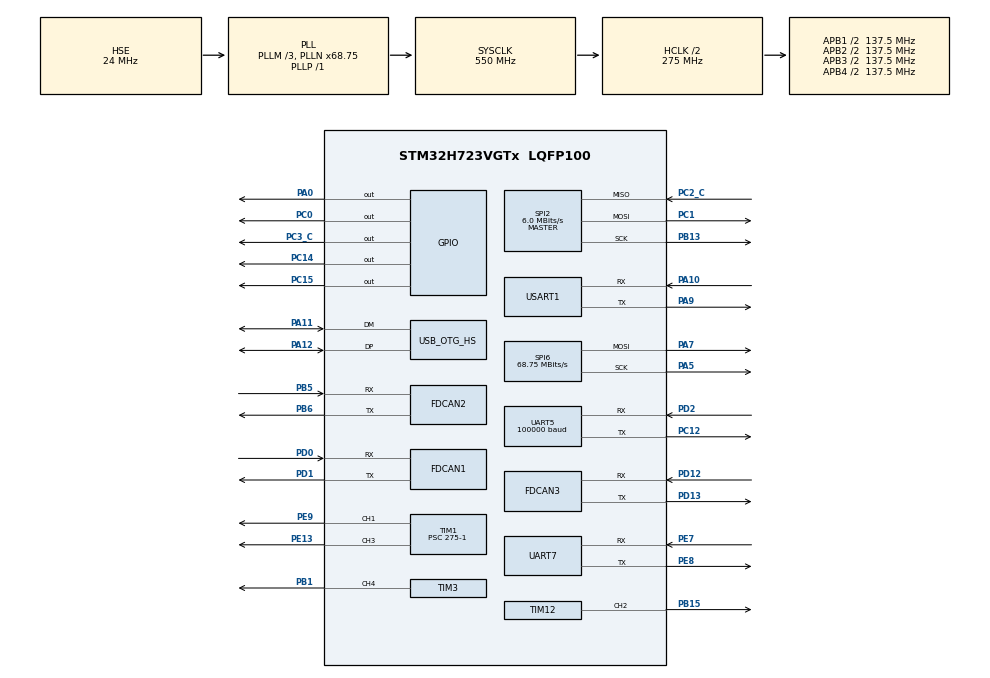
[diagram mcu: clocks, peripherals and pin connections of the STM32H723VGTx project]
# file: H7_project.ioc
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Bdma.Request0=SPI6_TX
Bdma.RequestsNb=1
Bdma.SPI6_TX.0.Direction=DMA_MEMORY_TO_PERIPH
Bdma.SPI6_TX.0.EventEnable=DISABLE
Bdma.SPI6_TX.0.Instance=BDMA_Channel0
Bdma.SPI6_TX.0.MemDataAlignment=DMA_MDATAALIGN_BYTE
Bdma.SPI6_TX.0.MemInc=DMA_MINC_ENABLE
Bdma.SPI6_TX.0.Mode=DMA_NORMAL
Bdma.SPI6_TX.0.PeriphDataAlignment=DMA_PDATAALIGN_BYTE
Bdma.SPI6_TX.0.PeriphInc=DMA_PINC_DISABLE
Bdma.SPI6_TX.0.Polarity=HAL_DMAMUX_REQ_GEN_RISING
Bdma.SPI6_TX.0.Priority=DMA_PRIORITY_VERY_HIGH
Bdma.SPI6_TX.0.RequestNumber=1
Bdma.SPI6_TX.0.SignalID=NONE
Bdma.SPI6_TX.0.SyncEnable=DISABLE
Bdma.SPI6_TX.0.SyncPolarity=HAL_DMAMUX_SYNC_NO_EVENT
Bdma.SPI6_TX.0.SyncRequestNumber=1
Bdma.SPI6_TX.0.SyncSignalID=NONE
CORTEX_M7.default_mode_Activation=1
Dma.Request0=UART5_RX
Dma.Request1=USART1_RX
Dma.Request2=USART1_TX
Dma.Request3=UART7_RX
Dma.Request4=UART7_TX
Dma.UART5_RX.0.Direction=DMA_PERIPH_TO_MEMORY
Dma.UART5_RX.0.EventEnable=DISABLE
Dma.UART5_RX.0.FIFOMode=DMA_FIFOMODE_DISABLE
Dma.UART5_RX.0.Instance=DMA1_Stream0
Dma.UART5_RX.0.MemDataAlignment=DMA_MDATAALIGN_BYTE
Dma.UART5_RX.0.MemInc=DMA_MINC_ENABLE
Dma.UART5_RX.0.Mode=DMA_CIRCULAR
Dma.UART5_RX.0.PeriphDataAlignment=DMA_PDATAALIGN_BYTE
Dma.UART5_RX.0.PeriphInc=DMA_PINC_DISABLE
Dma.UART5_RX.0.Polarity=HAL_DMAMUX_REQ_GEN_RISING
Dma.UART5_RX.0.Priority=DMA_PRIORITY_VERY_HIGH
Dma.UART5_RX.0.RequestNumber=1
Dma.UART5_RX.0.SignalID=NONE
Dma.UART5_RX.0.SyncEnable=DISABLE
Dma.UART5_RX.0.SyncPolarity=HAL_DMAMUX_SYNC_NO_EVENT
Dma.UART5_RX.0.SyncRequestNumber=1
Dma.UART5_RX.0.SyncSignalID=NONE
Dma.UART7_RX.3.Direction=DMA_PERIPH_TO_MEMORY
Dma.UART7_RX.3.EventEnable=DISABLE
Dma.UART7_RX.3.FIFOMode=DMA_FIFOMODE_DISABLE
Dma.UART7_RX.3.Instance=DMA1_Stream1
Dma.UART7_RX.3.MemDataAlignment=DMA_MDATAALIGN_BYTE
Dma.UART7_RX.3.MemInc=DMA_MINC_ENABLE
Dma.UART7_RX.3.Mode=DMA_CIRCULAR
Dma.UART7_RX.3.PeriphDataAlignment=DMA_PDATAALIGN_BYTE
Dma.UART7_RX.3.PeriphInc=DMA_PINC_DISABLE
Dma.UART7_RX.3.Polarity=HAL_DMAMUX_REQ_GEN_RISING
Dma.UART7_RX.3.Priority=DMA_PRIORITY_LOW
Dma.UART7_RX.3.RequestNumber=1
Dma.UART7_RX.3.SignalID=NONE
Dma.UART7_RX.3.SyncEnable=DISABLE
Dma.UART7_RX.3.SyncPolarity=HAL_DMAMUX_SYNC_NO_EVENT
Dma.UART7_RX.3.SyncRequestNumber=1
Dma.UART7_RX.3.SyncSignalID=NONE
Dma.UART7_TX.4.Direction=DMA_MEMORY_TO_PERIPH
Dma.UART7_TX.4.EventEnable=DISABLE
Dma.UART7_TX.4.FIFOMode=DMA_FIFOMODE_DISABLE
Dma.UART7_TX.4.Instance=DMA1_Stream3
Dma.UART7_TX.4.MemDataAlignment=DMA_MDATAALIGN_BYTE
Dma.UART7_TX.4.MemInc=DMA_MINC_ENABLE
Dma.UART7_TX.4.Mode=DMA_NORMAL
Dma.UART7_TX.4.PeriphDataAlignment=DMA_PDATAALIGN_BYTE
Dma.UART7_TX.4.PeriphInc=DMA_PINC_DISABLE
Dma.UART7_TX.4.Polarity=HAL_DMAMUX_REQ_GEN_RISING
Dma.UART7_TX.4.Priority=DMA_PRIORITY_LOW
Dma.UART7_TX.4.RequestNumber=1
Dma.UART7_TX.4.SignalID=NONE
Dma.UART7_TX.4.SyncEnable=DISABLE
Dma.UART7_TX.4.SyncPolarity=HAL_DMAMUX_SYNC_NO_EVENT
Dma.UART7_TX.4.SyncRequestNumber=1
Dma.UART7_TX.4.SyncSignalID=NONE
Dma.USART1_RX.1.Direction=DMA_PERIPH_TO_MEMORY
Dma.USART1_RX.1.EventEnable=DISABLE
Dma.USART1_RX.1.FIFOMode=DMA_FIFOMODE_DISABLE
Dma.USART1_RX.1.Instance=DMA1_Stream2
Dma.USART1_RX.1.MemDataAlignment=DMA_MDATAALIGN_BYTE
Dma.USART1_RX.1.MemInc=DMA_MINC_ENABLE
Dma.USART1_RX.1.Mode=DMA_CIRCULAR
Dma.USART1_RX.1.PeriphDataAlignment=DMA_PDATAALIGN_BYTE
Dma.USART1_RX.1.PeriphInc=DMA_PINC_DISABLE
Dma.USART1_RX.1.Polarity=HAL_DMAMUX_REQ_GEN_RISING
Dma.USART1_RX.1.Priority=DMA_PRIORITY_VERY_HIGH
Dma.USART1_RX.1.RequestNumber=1
Dma.USART1_RX.1.SignalID=NONE
Dma.USART1_RX.1.SyncEnable=DISABLE
Dma.USART1_RX.1.SyncPolarity=HAL_DMAMUX_SYNC_NO_EVENT
Dma.USART1_RX.1.SyncRequestNumber=1
Dma.USART1_RX.1.SyncSignalID=NONE
Dma.USART1_TX.2.Direction=DMA_MEMORY_TO_PERIPH
Dma.USART1_TX.2.EventEnable=DISABLE
Dma.USART1_TX.2.FIFOMode=DMA_FIFOMODE_DISABLE
Dma.USART1_TX.2.Instance=DMA1_Stream4
Dma.USART1_TX.2.MemDataAlignment=DMA_MDATAALIGN_BYTE
Dma.USART1_TX.2.MemInc=DMA_MINC_ENABLE
Dma.USART1_TX.2.Mode=DMA_NORMAL
Dma.USART1_TX.2.PeriphDataAlignment=DMA_PDATAALIGN_BYTE
Dma.USART1_TX.2.PeriphInc=DMA_PINC_DISABLE
Dma.USART1_TX.2.Polarity=HAL_DMAMUX_REQ_GEN_RISING
Dma.USART1_TX.2.Priority=DMA_PRIORITY_HIGH
Dma.USART1_TX.2.RequestNumber=1
Dma.USART1_TX.2.SignalID=NONE
Dma.USART1_TX.2.SyncEnable=DISABLE
Dma.USART1_TX.2.SyncPolarity=HAL_DMAMUX_SYNC_NO_EVENT
Dma.USART1_TX.2.SyncRequestNumber=1
Dma.USART1_TX.2.SyncSignalID=NONE
FDCAN1.CalculateBaudRateNominal=1000000
FDCAN1.CalculateTimeBitNominal=1000
FDCAN1.CalculateTimeQuantumNominal=62.5
FDCAN1.DataPrescaler=3
FDCAN1.DataTimeSeg1=7
FDCAN1.DataTimeSeg2=8
FDCAN1.NominalPrescaler=3
FDCAN1.NominalTimeSeg1=7
FDCAN1.NominalTimeSeg2=8
FDCAN1.RxFifo0ElmtsNbr=8
FDCAN1.StdFiltersNbr=1
FDCAN1.TxFifoQueueElmtsNbr=8
FDCAN2.CalculateBaudRateNominal=1000000
FDCAN2.CalculateTimeBitNominal=1000
FDCAN2.CalculateTimeQuantumNominal=62.5
FDCAN2.DataPrescaler=3
FDCAN2.DataTimeSeg1=7
FDCAN2.DataTimeSeg2=8
FDCAN2.MessageRAMOffset=800
FDCAN2.NominalPrescaler=3
FDCAN2.NominalTimeSeg1=7
FDCAN2.NominalTimeSeg2=8
FDCAN2.RxFifo0ElmtsNbr=8
FDCAN2.StdFiltersNbr=1
FDCAN2.TxFifoQueueElmtsNbr=8
FDCAN3.CalculateBaudRateNominal=1000000
FDCAN3.CalculateTimeBitNominal=1000
FDCAN3.CalculateTimeQuantumNominal=62.5
FDCAN3.DataPrescaler=3
FDCAN3.DataTimeSeg1=7
FDCAN3.DataTimeSeg2=8
FDCAN3.MessageRAMOffset=1600
FDCAN3.NominalPrescaler=3
FDCAN3.NominalTimeSeg1=7
FDCAN3.NominalTimeSeg2=8
FDCAN3.RxFifo1ElmtsNbr=8
FDCAN3.StdFiltersNbr=1
FDCAN3.TxFifoQueueElmtsNbr=8
Mcu.Family=STM32H7
Mcu.Name=STM32H723VGTx
Mcu.Package=LQFP100
NVIC.BDMA_Channel0_IRQn=true\:0\:0\:false\:false\:true\:false\:true\:true
NVIC.DMA1_Stream0_IRQn=true\:0\:0\:false\:false\:true\:false\:true\:true
NVIC.DMA1_Stream1_IRQn=true\:0\:0\:false\:false\:true\:false\:true\:true
NVIC.DMA1_Stream2_IRQn=true\:0\:0\:false\:false\:true\:false\:true\:true
NVIC.DMA1_Stream3_IRQn=true\:0\:0\:false\:false\:true\:false\:true\:true
NVIC.DMA1_Stream4_IRQn=true\:0\:0\:false\:false\:true\:false\:true\:true
NVIC.FDCAN1_IT0_IRQn=true\:1\:0\:true\:false\:true\:true\:true\:true
NVIC.FDCAN2_IT0_IRQn=true\:1\:0\:true\:false\:true\:true\:true\:true
NVIC.FDCAN3_IT1_IRQn=true\:1\:0\:true\:false\:true\:true\:true\:true
NVIC.OTG_HS_IRQn=true\:0\:0\:false\:false\:true\:true\:true\:true
NVIC.PriorityGroup=NVIC_PRIORITYGROUP_4
NVIC.SPI6_IRQn=true\:0\:0\:false\:false\:true\:false\:true\:true
NVIC.TIM1_UP_IRQn=true\:0\:0\:false\:false\:true\:true\:true\:true
NVIC.TIM6_DAC_IRQn=true\:2\:0\:true\:false\:true\:true\:true\:true
NVIC.UART5_IRQn=true\:0\:0\:false\:false\:true\:true\:true\:true
NVIC.UART7_IRQn=true\:0\:0\:false\:false\:true\:true\:true\:true
NVIC.USART1_IRQn=true\:0\:0\:false\:false\:true\:false\:true\:true
PA0.Signal=GPIO_Output
PA10.Mode=Asynchronous
PA10.Signal=USART1_RX
PA11.Mode=Device_Only_FS
PA11.Signal=USB_OTG_HS_DM
PA12.Mode=Device_Only_FS
PA12.Signal=USB_OTG_HS_DP
PA13(JTMS/SWDIO).Mode=Serial_Wire
PA13(JTMS/SWDIO).Signal=DEBUG_JTMS-SWDIO
PA14(JTCK/SWCLK).Mode=Serial_Wire
PA14(JTCK/SWCLK).Signal=DEBUG_JTCK-SWCLK
PA5.Mode=TX_Only_Simplex_Unidirect_Master
PA5.Signal=SPI6_SCK
PA7.Mode=TX_Only_Simplex_Unidirect_Master
PA7.Signal=SPI6_MOSI
PA9.Mode=Asynchronous
PA9.Signal=USART1_TX
PB1.Signal=S_TIM3_CH4
PB13.Mode=Full_Duplex_Master
PB13.Signal=SPI2_SCK
PB15.Signal=S_TIM12_CH2
PB5.Mode=FDCAN_Activate
PB5.Signal=FDCAN2_RX
PB6.Mode=FDCAN_Activate
PB6.Signal=FDCAN2_TX
PC0.GPIO_Speed=GPIO_SPEED_FREQ_VERY_HIGH
PC0.Signal=GPIO_Output
PC1.Mode=Full_Duplex_Master
PC1.Signal=SPI2_MOSI
PC12.Mode=Asynchronous
PC12.Signal=UART5_TX
PC14-OSC32_IN.Signal=GPIO_Output
PC15-OSC32_OUT.Signal=GPIO_Output
PC2_C.Mode=Full_Duplex_Master
PC2_C.Signal=SPI2_MISO
PC3_C.GPIO_Speed=GPIO_SPEED_FREQ_VERY_HIGH
PC3_C.Signal=GPIO_Output
PD0.Mode=FDCAN_Activate
PD0.Signal=FDCAN1_RX
PD1.Mode=FDCAN_Activate
PD1.Signal=FDCAN1_TX
PD12.Mode=FDCAN_Activate
PD12.Signal=FDCAN3_RX
PD13.Mode=FDCAN_Activate
PD13.Signal=FDCAN3_TX
PD2.Mode=Asynchronous
PD2.Signal=UART5_RX
PE13.Signal=S_TIM1_CH3
PE7.Mode=Asynchronous
PE7.Signal=UART7_RX
PE8.Mode=Asynchronous
PE8.Signal=UART7_TX
PE9.Signal=S_TIM1_CH1
PH0-OSC_IN.Mode=HSE-External-Oscillator
PH0-OSC_IN.Signal=RCC_OSC_IN
PH1-OSC_OUT.Mode=HSE-External-Oscillator
PH1-OSC_OUT.Signal=RCC_OSC_OUT
ProjectManager.HeapSize=0x800
ProjectManager.StackSize=0x800
ProjectManager.TargetToolchain=CMake
RCC.ADCFreq_Value=96000000
RCC.APB1Freq_Value=137500000
RCC.APB2Freq_Value=137500000
RCC.APB3Freq_Value=137500000
RCC.APB4Freq_Value=137500000
RCC.CortexFreq_Value=550000000
RCC.D1PPRE=RCC_APB3_DIV2
RCC.D2PPRE1=RCC_APB1_DIV2
RCC.D2PPRE2=RCC_APB2_DIV2
RCC.D3PPRE=RCC_APB4_DIV2
RCC.DIVM1=3
RCC.DIVM2=16
RCC.DIVM3=16
RCC.DIVN1=68
RCC.DIVN2=128
RCC.DIVN3=128
RCC.DIVP1=1
RCC.DIVQ2=4
RCC.DIVQ3=4
RCC.FDCANCLockSelection=RCC_FDCANCLKSOURCE_PLL2
RCC.HCLKFreq_Value=275000000
RCC.HPRE=RCC_HCLK_DIV2
RCC.HSE_VALUE=24000000
RCC.PLL2FRACN=0
RCC.PLLFRACN=6144
RCC.PLLSourceVirtual=RCC_PLLSOURCE_HSE
RCC.SPI123CLockSelection=RCC_SPI123CLKSOURCE_PLL2
RCC.SYSCLKFreq_VALUE=550000000
RCC.SYSCLKSource=RCC_SYSCLKSOURCE_PLLCLK
RCC.USART234578CLockSelection=RCC_USART234578CLKSOURCE_PLL2
RCC.USBCLockSelection=RCC_USBCLKSOURCE_PLL3
RCC.USBFreq_Value=48000000
SH.S_TIM12_CH2.0=TIM12_CH2,PWM Generation2 CH2
SH.S_TIM1_CH1.0=TIM1_CH1,PWM Generation1 CH1
SH.S_TIM1_CH3.0=TIM1_CH3,PWM Generation3 CH3
SH.S_TIM3_CH4.0=TIM3_CH4,Output Compare4 CH4
SPI2.BaudRatePrescaler=SPI_BAUDRATEPRESCALER_16
SPI2.CalculateBaudRate=6.0 MBits/s
SPI2.DataSize=SPI_DATASIZE_8BIT
SPI2.Direction=SPI_DIRECTION_2LINES
SPI2.Mode=SPI_MODE_MASTER
SPI2.VirtualType=VM_MASTER
SPI6.CalculateBaudRate=68.75 MBits/s
SPI6.Direction=SPI_DIRECTION_2LINES_TXONLY
SPI6.Mode=SPI_MODE_MASTER
SPI6.VirtualType=VM_MASTER
TIM1.Channel-PWM\ Generation1\ CH1=TIM_CHANNEL_1
TIM1.Channel-PWM\ Generation3\ CH3=TIM_CHANNEL_3
TIM1.Period=500-1
TIM1.Prescaler=275-1
TIM12.Channel-PWM\ Generation2\ CH2=TIM_CHANNEL_2
TIM12.Period=1000-1
TIM12.Prescaler=275-1
TIM3.Channel-Output\ Compare4\ CH4=TIM_CHANNEL_4
TIM6.Period=1000-1
TIM6.Prescaler=275-1
UART5.BaudRate=100000
UART5.Mode=MODE_RX
UART5.Parity=PARITY_EVEN
UART5.WordLength=WORDLENGTH_9B
USART1.VirtualMode-Asynchronous=VM_ASYNC
USB_DEVICE.CLASS_NAME_HS=CDC
USB_DEVICE.VirtualMode=Cdc
USB_DEVICE.VirtualModeHS=Cdc_HS
USB_OTG_HS.VirtualMode-Device_Only_FS=Device_Only_FS
VP_CORDIC_VS_CORDIC.Mode=CORDIC_Activate
VP_MEMORYMAP_VS_MEMORYMAP.Mode=CurAppReg
VP_TIM12_VS_ClockSourceINT.Mode=Internal
VP_TIM1_VS_ClockSourceINT.Mode=Internal
VP_TIM2_VS_ClockSourceINT.Mode=Internal
VP_TIM3_VS_ClockSourceINT.Mode=Internal
VP_TIM6_VS_ClockSourceINT.Mode=Enable_Timer
VP_USB_DEVICE_VS_USB_DEVICE_CDC_HS.Mode=CDC_HS
board=custom

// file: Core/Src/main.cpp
/* USER CODE BEGIN Header */
/**
  ******************************************************************************
  * @file           : main.c
  * @brief          : Main program body
  ******************************************************************************
  * @attention
  *
  * Copyright (c) 2025 STMicroelectronics.
  * All rights reserved.
  *
  * This software is licensed under terms that can be found in the LICENSE file
  * in the root directory of this software component.
  * If no LICENSE file comes with this software, it is provided AS-IS.
  *
  ******************************************************************************
  */
/* USER CODE END Header */
#include "main.h"

/* USER CODE BEGIN Includes */
#include "pid.hpp"
#include "gm6020.hpp"
#include "HW_fdcan.hpp"
#include <cmath>
#include "stdbool.h"
/* USER CODE END Includes */

void SystemClock_Config(void);
void PeriphCommonClock_Config(void);
static void MPU_Config(void);

/* USER CODE BEGIN 0 */
volatile float actual_angle_rad = 0.0f;
volatile float error_rad = 0.0f;
volatile float target_velocity = 0.0f;
volatile float actual_velocity = 0.0f;
volatile float output_current = 0.0f;
volatile float target_angle_rad = 0.0f;
volatile float monitor_actual_angle_rad = 0.0f;
volatile int i = 1;
volatile float pid_actual_angle_rad = 0.0f;
volatile bool position_control_first_run = true;
volatile float last_actual_angle_rad = 0.0f;

GM6020 motor1(1);

// 速度环
PidParams speed_pid_params_1 = {
    .kp = 15.0f, .ki = 0.1f, .kd = 0.025f,
    .output_max = 16384.0f, .integral_max = 4000.0f
};
Pid speed_pid_1(speed_pid_params_1);

// 位置环
PidParams pos_pid_params_1 = {
    .kp = 110.0f, .ki = 0.0f, .kd = 5.0f,
    .output_max = 400.0f, .integral_max = 100.0f
};
Pid position_pid_1(pos_pid_params_1);

// 4. 任务控制状态变量
enum ControlMode {
    SPEED_CONTROL,
    POSITION_CONTROL
};

// 手动切换
volatile ControlMode current_mode = POSITION_CONTROL;

const float TARGET_A = 1.0f * PI / 4.0f;
const float TARGET_B = -1.0f * PI / 1.0f;

static float current_target_angle = TARGET_A;
/* USER CODE END 0 */

int main(void)
{

  /* MPU Configuration--------------------------------------------------------*/
  MPU_Config();

  /* MCU Configuration--------------------------------------------------------*/

  /* Reset of all peripherals, Initializes the Flash interface and the Systick. */
  HAL_Init();

  /* Configure the system clock */
  SystemClock_Config();

  /* Configure the peripherals common clocks */
  PeriphCommonClock_Config();

  /* Initialize all configured peripherals */
  MX_GPIO_Init();
  MX_DMA_Init();
  MX_BDMA_Init();
  MX_FDCAN1_Init();
  MX_FDCAN2_Init();
  MX_FDCAN3_Init();
  MX_SPI2_Init();
  MX_SPI6_Init();
  MX_TIM2_Init();
  MX_TIM3_Init();
  MX_TIM6_Init();
  MX_TIM12_Init();
  MX_UART5_Init();
  MX_USART1_UART_Init();
  MX_USB_DEVICE_Init();
  MX_CORDIC_Init();
  MX_TIM1_Init();
  MX_UART7_Init();
  /* USER CODE BEGIN 2 */

  HAL_FDCAN_Start(&hfdcan1);
  FdcanFilterInit(&hfdcan1, FDCAN_FILTER_TO_RXFIFO0); // 配置CAN过滤器
  HAL_FDCAN_ActivateNotification(&hfdcan1, FDCAN_IT_RX_FIFO0_NEW_MESSAGE, 0); // 使能接收中断

  HAL_TIM_Base_Start_IT(&htim1);
  /* USER CODE END 2 */

  /* Infinite loop */
  while (1)
  {

  }
}

void SystemClock_Config(void)
{
  RCC_OscInitTypeDef RCC_OscInitStruct = {0};
  RCC_ClkInitTypeDef RCC_ClkInitStruct = {0};

  /** Supply configuration update enable
  */
  HAL_PWREx_ConfigSupply(PWR_LDO_SUPPLY);

  /** Configure the main internal regulator output voltage
  */
  __HAL_PWR_VOLTAGESCALING_CONFIG(PWR_REGULATOR_VOLTAGE_SCALE0);

  while(!__HAL_PWR_GET_FLAG(PWR_FLAG_VOSRDY)) {}

  /** Initializes the RCC Oscillators according to the specified parameters
  * in the RCC_OscInitTypeDef structure.
  */
  RCC_OscInitStruct.OscillatorType = RCC_OSCILLATORTYPE_HSE;
  RCC_OscInitStruct.HSEState = RCC_HSE_ON;
  RCC_OscInitStruct.PLL.PLLState = RCC_PLL_ON;
  RCC_OscInitStruct.PLL.PLLSource = RCC_PLLSOURCE_HSE;
  RCC_OscInitStruct.PLL.PLLM = 3;
  RCC_OscInitStruct.PLL.PLLN = 68;
  RCC_OscInitStruct.PLL.PLLP = 1;
  RCC_OscInitStruct.PLL.PLLQ = 2;
  RCC_OscInitStruct.PLL.PLLR = 2;
  RCC_OscInitStruct.PLL.PLLRGE = RCC_PLL1VCIRANGE_3;
  RCC_OscInitStruct.PLL.PLLVCOSEL = RCC_PLL1VCOWIDE;
  RCC_OscInitStruct.PLL.PLLFRACN = 6144;
  if (HAL_RCC_OscConfig(&RCC_OscInitStruct) != HAL_OK)
  {
    Error_Handler();
  }

  /** Initializes the CPU, AHB and APB buses clocks
  */
  RCC_ClkInitStruct.ClockType = RCC_CLOCKTYPE_HCLK|RCC_CLOCKTYPE_SYSCLK
                              |RCC_CLOCKTYPE_PCLK1|RCC_CLOCKTYPE_PCLK2
                              |RCC_CLOCKTYPE_D3PCLK1|RCC_CLOCKTYPE_D1PCLK1;
  RCC_ClkInitStruct.SYSCLKSource = RCC_SYSCLKSOURCE_PLLCLK;
  RCC_ClkInitStruct.SYSCLKDivider = RCC_SYSCLK_DIV1;
  RCC_ClkInitStruct.AHBCLKDivider = RCC_HCLK_DIV2;
  RCC_ClkInitStruct.APB3CLKDivider = RCC_APB3_DIV2;
  RCC_ClkInitStruct.APB1CLKDivider = RCC_APB1_DIV2;
  RCC_ClkInitStruct.APB2CLKDivider = RCC_APB2_DIV2;
  RCC_ClkInitStruct.APB4CLKDivider = RCC_APB4_DIV2;

  if (HAL_RCC_ClockConfig(&RCC_ClkInitStruct, FLASH_LATENCY_3) != HAL_OK)
  {
    Error_Handler();
  }
}

void PeriphCommonClock_Config(void)
{
  RCC_PeriphCLKInitTypeDef PeriphClkInitStruct = {0};

  /** Initializes the peripherals clock
  */
  PeriphClkInitStruct.PeriphClockSelection = RCC_PERIPHCLK_SPI2|RCC_PERIPHCLK_UART5
                              |RCC_PERIPHCLK_FDCAN|RCC_PERIPHCLK_UART7;
  PeriphClkInitStruct.PLL2.PLL2M = 16;
  PeriphClkInitStruct.PLL2.PLL2N = 128;
  PeriphClkInitStruct.PLL2.PLL2P = 2;
  PeriphClkInitStruct.PLL2.PLL2Q = 4;
  PeriphClkInitStruct.PLL2.PLL2R = 2;
  PeriphClkInitStruct.PLL2.PLL2RGE = RCC_PLL2VCIRANGE_0;
  PeriphClkInitStruct.PLL2.PLL2VCOSEL = RCC_PLL2VCOMEDIUM;
  PeriphClkInitStruct.PLL2.PLL2FRACN = 0;
  PeriphClkInitStruct.Spi123ClockSelection = RCC_SPI123CLKSOURCE_PLL2;
  PeriphClkInitStruct.FdcanClockSelection = RCC_FDCANCLKSOURCE_PLL2;
  PeriphClkInitStruct.Usart234578ClockSelection = RCC_USART234578CLKSOURCE_PLL2;
  if (HAL_RCCEx_PeriphCLKConfig(&PeriphClkInitStruct) != HAL_OK)
  {
    Error_Handler();
  }
}

/* USER CODE BEGIN 4 */
void HAL_TIM_PeriodElapsedCallback(TIM_HandleTypeDef *htim)
{
    if (htim->Instance == TIM1)
    {
        if (current_mode == SPEED_CONTROL)
        {
            // --- 任务一：速度闭环控制 ---

            float t = HAL_GetTick() / 1000.0f;
            static volatile float target_speed = 0.0f, actual_speed = 0.0f, output_current = 0.0f;
            target_speed = 300.0f * sin(2.0f * PI * 0.5f * t); //定义正弦曲线
            actual_speed = motor1.getVelocityRPM();
            if(t>0.0f && t <2.0f){
                output_current = speed_pid_1.pidCalc(target_speed, actual_speed); //速度--电流
            }

            motor1.encode((int16_t)output_current, 0, 0, 0);
        }
        else if (current_mode == POSITION_CONTROL)
        {
            // --- 任务二：位置闭环控制 ---

            target_angle_rad = current_target_angle;
            actual_angle_rad = motor1.getAngleRad();

            if(actual_angle_rad > PI){
              actual_angle_rad-=2*PI;
            }

            // 解算连续角度
            if (position_control_first_run)
            {
                pid_actual_angle_rad = actual_angle_rad;
                position_control_first_run = false;
            }
            else
            {
                // 计算与上一次的“最短”差异
                float diff = actual_angle_rad - last_actual_angle_rad;

                // 检查是否发生了 >PI 或 <-PI 的跳跃
                if (diff > PI)  diff -= 2.0f * PI; // 从 -PI 附近跳到 +PI 附近
                if (diff < -PI) diff += 2.0f * PI; // 从 +PI 附近跳到 -PI 附近

                pid_actual_angle_rad += diff;
            }

            last_actual_angle_rad = actual_angle_rad;

            float error_for_check = current_target_angle - actual_angle_rad;
            if (error_for_check > PI) error_for_check -= 2.0f * PI;
            else if (error_for_check < -PI) error_for_check += 2.0f * PI;
            float tolerance_rad = 0.05f;
            if (std::fabs(error_for_check) < tolerance_rad)
            {
                if (current_target_angle == TARGET_A){
                     current_target_angle = TARGET_B;
                  }
                else if(i<2){
                    //current_target_angle = TARGET_A;
                }
            }

            error_rad = current_target_angle - pid_actual_angle_rad;
            //如果取消注释，就是最短路径，注释掉，更符合作业的例图
            //if (error_rad > PI) error_rad -= 2.0f * PI;
            //else if (error_rad < -PI) error_rad += 2.0f * PI;

            target_velocity = position_pid_1.pidCalc(0, -error_rad); //角度--速度

            actual_velocity = motor1.getVelocityRPM();

            output_current = speed_pid_1.pidCalc(target_velocity, actual_velocity);//速度--电流

            motor1.encode((int16_t)output_current, 0, 0, 0);
        }
    }
}

/* USER CODE END 4 */

 /* MPU Configuration */

void MPU_Config(void)
{
  MPU_Region_InitTypeDef MPU_InitStruct = {0};

  /* Disables the MPU */
  HAL_MPU_Disable();

  /** Initializes and configures the Region and the memory to be protected
  */
  MPU_InitStruct.Enable = MPU_REGION_ENABLE;
  MPU_InitStruct.Number = MPU_REGION_NUMBER0;
  MPU_InitStruct.BaseAddress = 0x0;
  MPU_InitStruct.Size = MPU_REGION_SIZE_4GB;
  MPU_InitStruct.SubRegionDisable = 0x87;
  MPU_InitStruct.TypeExtField = MPU_TEX_LEVEL0;
  MPU_InitStruct.AccessPermission = MPU_REGION_NO_ACCESS;
  MPU_InitStruct.DisableExec = MPU_INSTRUCTION_ACCESS_DISABLE;
  MPU_InitStruct.IsShareable = MPU_ACCESS_SHAREABLE;
  MPU_InitStruct.IsCacheable = MPU_ACCESS_NOT_CACHEABLE;
  MPU_InitStruct.IsBufferable = MPU_ACCESS_NOT_BUFFERABLE;

  HAL_MPU_ConfigRegion(&MPU_InitStruct);
  /* Enables the MPU */
  HAL_MPU_Enable(MPU_PRIVILEGED_DEFAULT);

}

void Error_Handler(void)
{
  __disable_irq();
  while (1)
  {
  }
}
